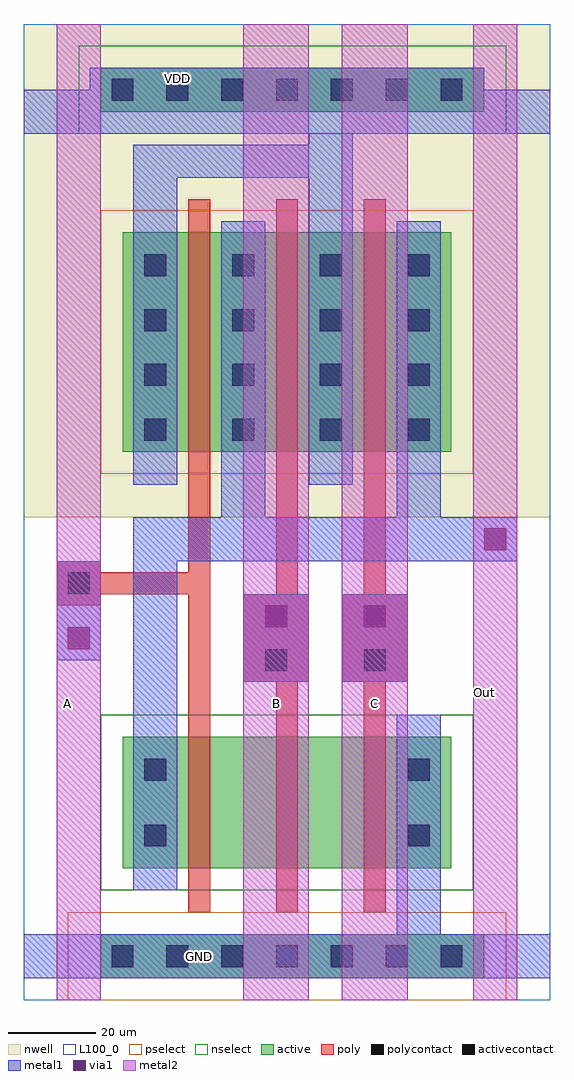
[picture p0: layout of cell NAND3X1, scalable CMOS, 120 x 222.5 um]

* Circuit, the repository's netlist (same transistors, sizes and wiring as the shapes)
* Extracted by KLayout (CIDESI_CM05, LNunT, CIDESI)

.SUBCKT NAND3X1 Out B C A VDD GND
M$1 Out A VDD VDD CIDPMOS L=5U W=50U AS=750P AD=375P PS=130U PD=65U
M$2 VDD B Out VDD CIDPMOS L=5U W=50U AS=375P AD=375P PS=65U PD=65U
M$3 Out C VDD VDD CIDPMOS L=5U W=50U AS=375P AD=750P PS=65U PD=130U
M$4 \$6 A Out GND CIDNMOS L=5U W=30U AS=450P AD=225P PS=90U PD=45U
M$5 \$7 B \$6 GND CIDNMOS L=5U W=30U AS=225P AD=225P PS=45U PD=45U
M$6 GND C \$7 GND CIDNMOS L=5U W=30U AS=225P AD=450P PS=45U PD=90U
.ENDS NAND3X1

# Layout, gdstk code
import gdstk
lib = gdstk.Library(unit=1e-6, precision=1e-09)
def R(c, l, rs):  # rectangles x0, y0, x1, y1
    for r in rs: c.add(gdstk.rectangle(r[:2], r[2:], *l))
def A(c, l, x, y, w, h, nx, ny, dx, dy):  # array of equal rectangles
    R(c, l, [(x+i*dx, y+j*dy, x+i*dx+w, y+j*dy+h) for i in range(nx) for j in range(ny)])
nwell = (42, 0)
active = (43, 0)
pselect = (44, 0)
nselect = (45, 0)
poly = (46, 0)
polycontact = (47, 0)
activecontact = (48, 0)
metal1 = (49, 0)
via1 = (50, 0)
metal2 = (51, 0)
L100_0 = (100, 0)

nand3x1 = lib.new_cell('NAND3X1')
R(nand3x1, nwell, [(0,110,7.5,222.5), (7.5,110,112.5,222.5), (112.5,110,120,222.5)])
R(nand3x1, active, [(17.5,5,105,15), (22.5,30,97.5,60), (22.5,125,97.5,175), (17.5,202.5,105,212.5)])
R(nand3x1, pselect, [(10,0,110,20), (17.5,120,102.5,180)])
R(nand3x1, nselect, [(17.5,25,102.5,65), (12.5,197.5,110,217.5)])
A(nand3x1, poly, 37.5, 20, 5, 162.5, 3, 1, 20, 0)
R(nand3x1, poly, [(50,72.5,65,92.5), (72.5,72.5,87.5,92.5), (7.5,90,17.5,100), (10,92.5,42.5,97.5)])
R(nand3x1, polycontact, [(55,75,60,80), (77.5,75,82.5,80), (10,92.5,15,97.5)])
A(nand3x1, activecontact, 20, 7.5, 5, 5, 7, 2, 12.5, 197.5)
A(nand3x1, activecontact, 27.5, 127.5, 5, 5, 4, 4, 20, 12.5)
R(nand3x1, activecontact, [(27.5,35,32.5,40), (87.5,35,92.5,40), (27.5,50,32.5,55), (87.5,50,92.5,55)])
R(nand3x1, metal1, [(0,5,120,15), (7.5,5,112.5,15), (15,5,105,15), (85,5,95,65), (25,25,35,102.5), (50,72.5,65,92.5), (72.5,72.5,87.5,92.5), (7.5,77.5,17.5,100), (25,100,112.5,110), (45,100,55,177.5), (85,100,95,177.5), (25,117.5,35,195), (65,117.5,75,212.5), (25,187.5,75,195), (0,197.5,120,207.5), (7.5,197.5,112.5,207.5), (15,202.5,105,212.5)])
R(nand3x1, via1, [(10,80,15,85), (55,85,60,90), (77.5,85,82.5,90), (105,102.5,110,107.5)])
R(nand3x1, metal2, [(7.5,0,17.5,222.5), (50,0,65,222.5), (72.5,0,87.5,222.5), (102.5,0,112.5,222.5)])
R(nand3x1, L100_0, [(0,0,120,222.5)])
nand3x1.add(gdstk.Label('A', (10,67.5), layer=51, texttype=1))
nand3x1.add(gdstk.Label('B', (57.5,67.5), layer=51, texttype=1))
nand3x1.add(gdstk.Label('C', (80,67.5), layer=51, texttype=1))
nand3x1.add(gdstk.Label('Out', (105,70), layer=51, texttype=1))
nand3x1.add(gdstk.Label('GND', (40,10), layer=49, texttype=1))
nand3x1.add(gdstk.Label('VDD', (35,210), layer=49, texttype=1))

lib.write_gds('NAND3X1.gds')
